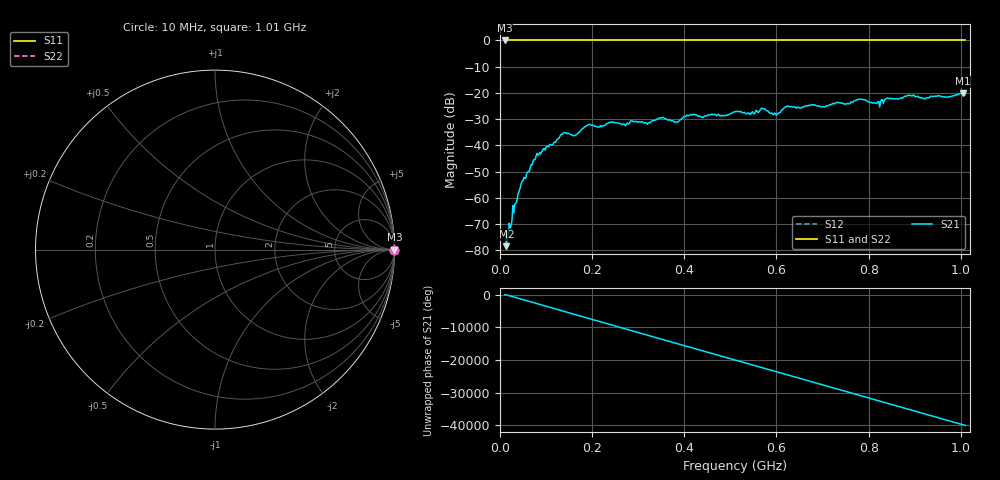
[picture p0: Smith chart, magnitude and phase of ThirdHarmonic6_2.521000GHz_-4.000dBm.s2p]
! 8/17/2025 4:57:46 AM
! C:\ANRITSUVNA\TEMP\TEMP.S2P
! CHANNEL.1
! TR.MEASUREMENT
! RAW.DATA
! RF.CORRECTION.OFF
! AVERAGING.OFF
! IF.BANDWIDTH: 5KHZ
! SWEEPTYPE:  FREQ.SWEEP(Linear)
! Reference Plane Port Info
! PORT:  PORT1  PORT2
! DISTANCE:  0  m  0  m
! TIME:  0  s  0  s
! PHASE.OFFSET:  0  deg.  0  deg.
! LOSS:  0  dB  0  dB
! REF.LOSS:  0  dB  0  dB
! REF.FREQ:  0  Hz  0  Hz
! Power Info
! POWER:  -20  dBm  -20  dBm
! EFF.POWER:  -20  dBm  -20  dBm
! SOURCE.ATTEN:  0  dB  0  dB
! TEST.ATTEN:  0  dB  0  dB
# GHZ S RI R 50.0
! FREQ.GHZ  S11RE  S11IM  S21RE  S21IM  S12RE  S12IM  S22RE  S22IM
!; PortSelection: Port_12
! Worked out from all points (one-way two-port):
!   501 points, 10 MHz to 1.01 GHz, reference 50 ohm
!   highest |S21| = -20.12 dB at 1.004 GHz (marker M1); lowest = -78.4 dB at 14 MHz (marker M2)
!   lowest |S11| = 0.0 dB at 10 MHz (marker M3)
!   |S11| at or under -10 dB: nowhere
!   |S22| runs from 0.0 to 0.0 dB; largest |S21 - S12| = 1.1
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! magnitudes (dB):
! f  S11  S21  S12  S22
! 10 MHz  0.0  -73.9  0.0  0.0
! 14 MHz  0.0  -78.4  0.0  0.0
! 48 MHz  0.0  -53.6  0.0  0.0
! 76 MHz  0.0  -45.3  0.0  0.0
! 136 MHz  0.0  -35.7  0.0  0.0
! 162 MHz  0.0  -36.2  0.0  0.0
! 178 MHz  0.0  -33.8  0.0  0.0
! 192 MHz  0.0  -32.2  0.0  0.0
! 322 MHz  0.0  -31.5  0.0  0.0
! 344 MHz  0.0  -29.8  0.0  0.0
! 382 MHz  0.0  -31.1  0.0  0.0
! 410 MHz  0.0  -28.6  0.0  0.0
! 510 MHz  0.0  -27.1  0.0  0.0
! 570 MHz  0.0  -25.9  0.0  0.0
! 596 MHz  0.0  -27.7  0.0  0.0
! 622 MHz  0.0  -25.2  0.0  0.0
! 678 MHz  0.0  -24.5  0.0  0.0
! 780 MHz  0.0  -22.4  0.0  0.0
! 820 MHz  0.0  -23.4  0.0  0.0
! 844 MHz  0.0  -22.1  0.0  0.0
! 1.004 GHz  0.0  -20.1  0.0  0.0
! 1.01 GHz  0.0  -20.6  0.0  0.0
